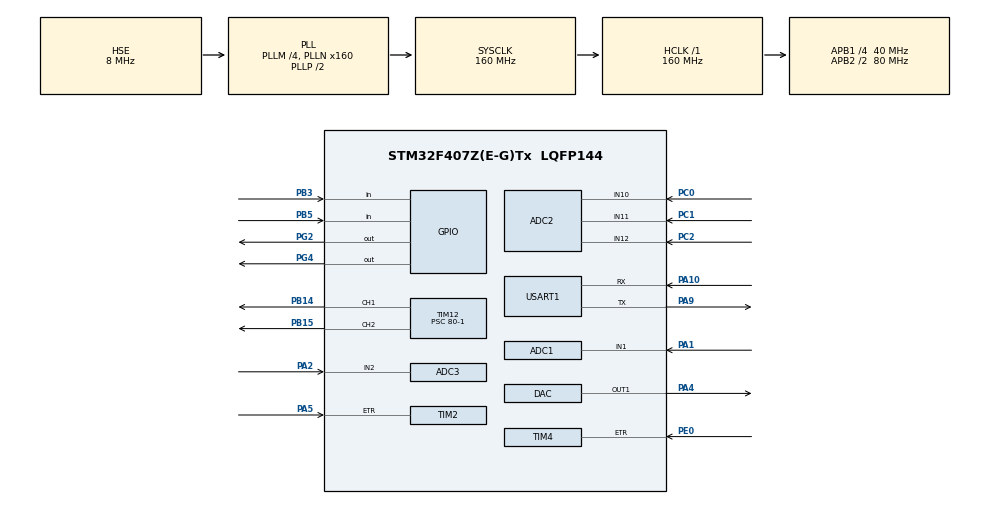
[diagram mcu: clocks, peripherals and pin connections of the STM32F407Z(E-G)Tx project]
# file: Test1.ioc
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ADC1.Channel-1\#ChannelRegularConversion=ADC_CHANNEL_1
ADC1.ClockPrescaler=ADC_CLOCK_SYNC_PCLK_DIV4
ADC1.DMAContinuousRequests=ENABLE
ADC1.ExternalTrigConv=ADC_EXTERNALTRIGCONV_T3_TRGO
ADC1.NbrOfConversion=1
ADC1.NbrOfConversionFlag=1
ADC1.Rank-1\#ChannelRegularConversion=1
ADC1.SamplingTime-1\#ChannelRegularConversion=ADC_SAMPLETIME_3CYCLES
ADC1.master=1
ADC2.Channel-5\#ChannelRegularConversion=ADC_CHANNEL_12
ADC2.ClockPrescaler=ADC_CLOCK_SYNC_PCLK_DIV4
ADC2.NbrOfConversionFlag=1
ADC2.Rank-5\#ChannelRegularConversion=1
ADC2.SamplingTime-5\#ChannelRegularConversion=ADC_SAMPLETIME_3CYCLES
ADC3.Channel-1\#ChannelRegularConversion=ADC_CHANNEL_2
ADC3.DMAContinuousRequests=ENABLE
ADC3.EOCSelection=ADC_EOC_SINGLE_CONV
ADC3.ExternalTrigConv=ADC_EXTERNALTRIGCONV_T8_TRGO
ADC3.NbrOfConversion=1
ADC3.NbrOfConversionFlag=1
ADC3.Rank-1\#ChannelRegularConversion=1
ADC3.SamplingTime-1\#ChannelRegularConversion=ADC_SAMPLETIME_3CYCLES
ADC3.ScanConvMode=DISABLE
DAC.DAC_Trigger=DAC_TRIGGER_SOFTWARE
Dma.ADC1.0.Direction=DMA_PERIPH_TO_MEMORY
Dma.ADC1.0.FIFOMode=DMA_FIFOMODE_DISABLE
Dma.ADC1.0.Instance=DMA2_Stream0
Dma.ADC1.0.MemDataAlignment=DMA_MDATAALIGN_HALFWORD
Dma.ADC1.0.MemInc=DMA_MINC_ENABLE
Dma.ADC1.0.Mode=DMA_CIRCULAR
Dma.ADC1.0.PeriphDataAlignment=DMA_PDATAALIGN_HALFWORD
Dma.ADC1.0.PeriphInc=DMA_PINC_DISABLE
Dma.ADC1.0.Priority=DMA_PRIORITY_LOW
Dma.ADC3.1.Direction=DMA_PERIPH_TO_MEMORY
Dma.ADC3.1.FIFOMode=DMA_FIFOMODE_DISABLE
Dma.ADC3.1.Instance=DMA2_Stream1
Dma.ADC3.1.MemDataAlignment=DMA_MDATAALIGN_HALFWORD
Dma.ADC3.1.MemInc=DMA_MINC_ENABLE
Dma.ADC3.1.Mode=DMA_CIRCULAR
Dma.ADC3.1.PeriphDataAlignment=DMA_PDATAALIGN_HALFWORD
Dma.ADC3.1.PeriphInc=DMA_PINC_DISABLE
Dma.ADC3.1.Priority=DMA_PRIORITY_LOW
Dma.Request0=ADC1
Dma.Request1=ADC3
FREERTOS.Tasks01=defaultTask,24,128,StartDefaultTask,Default,NULL,Dynamic,NULL,NULL;myTask02,24,128,StartTask02,Default,NULL,Dynamic,NULL,NULL
FREERTOS.configENABLE_FPU=1
Mcu.Family=STM32F4
Mcu.Name=STM32F407Z(E-G)Tx
Mcu.Package=LQFP144
NVIC.DMA2_Stream0_IRQn=true\:5\:0\:false\:false\:true\:true\:false\:true\:true
NVIC.DMA2_Stream1_IRQn=true\:5\:0\:false\:false\:true\:true\:false\:true\:true
NVIC.PriorityGroup=NVIC_PRIORITYGROUP_4
NVIC.TIM1_UP_TIM10_IRQn=true\:5\:0\:false\:false\:true\:true\:true\:true\:true
NVIC.TIM4_IRQn=true\:5\:0\:false\:false\:true\:true\:true\:true\:true
NVIC.TIM6_DAC_IRQn=true\:15\:0\:false\:false\:true\:false\:false\:true\:true
NVIC.TimeBase=TIM6_DAC_IRQn
NVIC.TimeBaseIP=TIM6
PA1.Signal=ADCx_IN1
PA10.Mode=Asynchronous
PA10.Signal=USART1_RX
PA13.Mode=Serial_Wire
PA13.Signal=SYS_JTMS-SWDIO
PA14.Mode=Serial_Wire
PA14.Signal=SYS_JTCK-SWCLK
PA2.Signal=ADCx_IN2
PA4.Signal=COMP_DAC1_group
PA5.Signal=S_TIM2_CH1_ETR
PA9.Mode=Asynchronous
PA9.Signal=USART1_TX
PB14.Signal=S_TIM12_CH1
PB15.Signal=S_TIM12_CH2
PB3.Signal=GPIO_Input
PB5.Signal=GPIO_Input
PC0.Signal=ADCx_IN10
PC1.Signal=ADCx_IN11
PC2.Signal=ADCx_IN12
PE0.Signal=S_TIM4_ETR
PG2.GPIO_Speed=GPIO_SPEED_FREQ_VERY_HIGH
PG2.Signal=GPIO_Output
PG4.GPIO_Speed=GPIO_SPEED_FREQ_VERY_HIGH
PG4.Signal=GPIO_Output
PH0-OSC_IN.Mode=HSE-External-Oscillator
PH0-OSC_IN.Signal=RCC_OSC_IN
PH1-OSC_OUT.Mode=HSE-External-Oscillator
PH1-OSC_OUT.Signal=RCC_OSC_OUT
ProjectManager.HeapSize=0x200
ProjectManager.StackSize=0x4000
ProjectManager.TargetToolchain=MDK-ARM V5.32
RCC.48MHZClocksFreq_Value=80000000
RCC.AHBFreq_Value=160000000
RCC.APB1CLKDivider=RCC_HCLK_DIV4
RCC.APB1Freq_Value=40000000
RCC.APB1TimFreq_Value=80000000
RCC.APB2CLKDivider=RCC_HCLK_DIV2
RCC.APB2Freq_Value=80000000
RCC.APB2TimFreq_Value=160000000
RCC.CortexFreq_Value=160000000
RCC.HCLKFreq_Value=160000000
RCC.HSE_VALUE=8000000
RCC.HSI_VALUE=16000000
RCC.LSE_VALUE=32768
RCC.PLLM=4
RCC.PLLN=160
RCC.PLLSourceVirtual=RCC_PLLSOURCE_HSE
RCC.SYSCLKFreq_VALUE=160000000
RCC.SYSCLKSource=RCC_SYSCLKSOURCE_PLLCLK
RCC.VCOOutputFreq_Value=320000000
SH.ADCx_IN1.0=ADC1_IN1,IN1
SH.ADCx_IN10.0=ADC2_IN10,IN10
SH.ADCx_IN11.0=ADC2_IN11,IN11
SH.ADCx_IN12.0=ADC2_IN12,IN12
SH.ADCx_IN2.0=ADC3_IN2,IN2
SH.COMP_DAC1_group.0=DAC_OUT1,DAC_OUT1
SH.S_TIM12_CH1.0=TIM12_CH1,PWM Generation1 CH1
SH.S_TIM12_CH2.0=TIM12_CH2,PWM Generation2 CH2
SH.S_TIM2_CH1_ETR.0=TIM2_ETR,ClockSourceETR_Mode2
SH.S_TIM4_ETR.0=TIM4_ETR,ClockSourceETR_Mode2
TIM1.AutoReloadPreload=TIM_AUTORELOAD_PRELOAD_ENABLE
TIM1.Period=9999
TIM1.Prescaler=15999
TIM1.TIM_MasterOutputTrigger=TIM_TRGO_RESET
TIM12.Channel-PWM\ Generation1\ CH1=TIM_CHANNEL_1
TIM12.Channel-PWM\ Generation2\ CH2=TIM_CHANNEL_2
TIM12.Period=20-1
TIM12.Prescaler=80-1
TIM12.Pulse-PWM\ Generation1\ CH1=9
TIM2.AutoReloadPreload=TIM_AUTORELOAD_PRELOAD_DISABLE
TIM2.Period=4294967295
TIM2.Prescaler=0
TIM2.TIM_MasterOutputTrigger=TIM_TRGO_RESET
TIM3.AutoReloadPreload=TIM_AUTORELOAD_PRELOAD_ENABLE
TIM3.Period=79
TIM3.Prescaler=0
TIM3.TIM_MasterOutputTrigger=TIM_TRGO_UPDATE
TIM4.AutoReloadPreload=TIM_AUTORELOAD_PRELOAD_DISABLE
TIM8.AutoReloadPreload=TIM_AUTORELOAD_PRELOAD_ENABLE
TIM8.Period=160-1
TIM8.Prescaler=0
TIM8.TIM_MasterOutputTrigger=TIM_TRGO_UPDATE
USART1.VirtualMode=VM_ASYNC
VP_FREERTOS_VS_CMSIS_V2.Mode=CMSIS_V2
VP_SYS_VS_tim6.Mode=TIM6
VP_TIM12_VS_ClockSourceINT.Mode=Internal
VP_TIM1_VS_ClockSourceINT.Mode=Internal
VP_TIM3_VS_ClockSourceINT.Mode=Internal
VP_TIM8_VS_ClockSourceINT.Mode=Internal
board=custom

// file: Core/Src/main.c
/* USER CODE BEGIN Header */
/**
  ******************************************************************************
  * @file           : main.c
  * @brief          : Main program body
  ******************************************************************************
  * @attention
  *
  * Copyright (c) 2025 STMicroelectronics.
  * All rights reserved.
  *
  * This software is licensed under terms that can be found in the LICENSE file
  * in the root directory of this software component.
  * If no LICENSE file comes with this software, it is provided AS-IS.
  *
  ******************************************************************************
  */
/* USER CODE END Header */
#include "main.h"
#include "cmsis_os.h"
#include "adc.h"
#include "dac.h"
#include "dma.h"
#include "tim.h"
#include "usart.h"
#include "gpio.h"

/* USER CODE BEGIN Includes */
#include <stdio.h>
#include "adf4002.h"
#include "lcd.h"
#include "arm_const_structs.h"
#include "ad9959.h"
#include "am_fm.h"
/* USER CODE END Includes */

/* USER CODE BEGIN PV */
//
volatile uint32_t pulseCount = 0;
volatile uint32_t signal_carrier_frequency = 0;
volatile uint8_t adc1_measurementReady = 0;
volatile uint8_t adc3_measurementReady = 0;
volatile double adc2_average_value = 0;
double AM_modulation_frequency = 0;
uint16_t adc1_buf[ADC_BUF_SIZE] = {0};
uint16_t last_adc1_buf[ADC_BUF_SIZE] = {0};
uint16_t last_adc3_buf[ADC_BUF_SIZE] = {0};
uint8_t dma_current_buf = 0;

float32_t fft_input[FFT_BUF_SIZE*2];  // 复数数组：实部+虚部
float32_t fft_output[FFT_BUF_SIZE];   // 幅度输出

//绘图相关
uint16_t prev_spectrum_x[FFT_BUF_SIZE/2] = {0}; // 存储上一次频谱点X坐标
uint16_t prev_spectrum_y[FFT_BUF_SIZE/2] = {0}; // 存储上一次频谱点Y坐标
uint16_t prev_num_points = 0;                   // 上一次绘制的点数
uint16_t adc3_buffer[ADC_BUF_SIZE] = {0};

uint16_t tim4_fre = 0; //定时器4频率
uint16_t tim4_nvic = 0;

/* USER CODE END PV */

void SystemClock_Config(void);
void MX_FREERTOS_Init(void);
/* USER CODE BEGIN PFP */

int fputc(int ch,FILE *f);
void Draw_Axes(void);
//void Draw_Spectrum(float32_t *draw_buf);

/* USER CODE END PFP */

int main(void)
{

  /* MCU Configuration--------------------------------------------------------*/

  /* Reset of all peripherals, Initializes the Flash interface and the Systick. */
  HAL_Init();

  /* Configure the system clock */
  SystemClock_Config();

  /* Initialize all configured peripherals */
  MX_GPIO_Init();
  MX_DMA_Init();
  MX_USART1_UART_Init();
  MX_TIM3_Init();
  MX_TIM1_Init();
  MX_ADC1_Init();
  MX_TIM2_Init();
  MX_ADC2_Init();
  MX_ADC3_Init();
  MX_TIM8_Init();
  MX_DAC_Init();
  MX_TIM12_Init();
  MX_TIM4_Init();
  /* USER CODE BEGIN 2 */
  lcd_init();		//LCD初始化
  Init_AD9959();    //锁相环初始化

  SignalDetectConfig my_config = {
        .fm_max_var = 300.0f,
        .am_min_var = 750.0f,
        .noise_threshold = 50.0f,
        .min_samples = 128
  };
  signal_detect_init(&my_config);

  HAL_TIM_Base_Start_IT(&htim1);
  HAL_TIM_Base_Start(&htim2);
  HAL_TIM_Base_Start(&htim3);
  HAL_TIM_Base_Start_IT(&htim4);
  HAL_TIM_Base_Start(&htim8);
  HAL_TIM_PWM_Start(&htim12,TIM_CHANNEL_1);
  HAL_ADC_Start_DMA(&hadc1, (uint32_t*)adc1_buf, ADC_BUF_SIZE);
  // 初始化后启动ADC
  HAL_ADC_Start_DMA(&hadc3,
                  (uint32_t*)adc3_buffer,   // 目标地址
                  ADC_BUF_SIZE // 总数据量=通道数×深度
                 );
//

  lcd_display_dir(1);
  Draw_Axes();

  uint32_t test_wave[ADC_BUF_SIZE] = {0};
  for(int i = 0; i<512; i++)
  {
	  test_wave[i] = 2048;
  }

  // 初始化DAC
  HAL_DAC_Start(&hdac, DAC_CHANNEL_1); // 启动通道1
  // 设置输出电n压为1.65V（VREF=3.3V）
  uint32_t dacValue = (1.65f / 3.3f) * 4095;
  HAL_DAC_SetValue(&hdac, DAC_CHANNEL_1, DAC_ALIGN_12B_R, dacValue);

//  AD9959_Set_Amplitude_Phase_Frequence(1, 900 ,0 ,15*MHz);

  HAL_Delay(10);
  IO_Update();

  /* USER CODE END 2 */

  /* Init scheduler */
  osKernelInitialize();

  /* Call init function for freertos objects (in cmsis_os2.c) */
  MX_FREERTOS_Init();

  /* Start scheduler */
  osKernelStart();

  /* We should never get here as control is now taken by the scheduler */

  /* Infinite loop */
  /* USER CODE BEGIN WHILE */
  while (1)
  {
	//扫频任务

	//ADC2采样直流显示
	//adc2_average_value = GetADC_Average(&hadc2, ADC_CHANNEL_11, 10, 3.3);
	//lcd_show_double(100, 50, adc2_average_value, 1, 6, 32, WHITE);

	//对ADC1采样做fft
//	Process_FFT(last_adc1_buf);
////	lcd_show_double(400, 50, max_freq_index * MAX_FREQ / ADC_BUF_SIZE, 3, 3, 32, WHITE);
//
//	//动态更新频谱显示
//    Draw_Spectrum(fft_output);// 1MHz采样率

	//进行信号类型初步判断
	SignalType signal1 = detect_signal_type(last_adc3_buf , ADC_BUF_SIZE);

	//信号处理函数
	Process_Signal( SIGNAL_AM  );

//	float fre = 0;
//	float amp = 0;
//
//	calculate_signal_params_zc( last_adc1_buf , ADC_BUF_SIZE , 1*MHz , &fre , &amp);
//	printf( "fre:%f amp:%f \n",fre , amp  );

//	double fre = Process_FFT(last_adc1_buf);
	//printf("%lf\n" , fre);

    /* USER CODE END WHILE */

  }
}

void SystemClock_Config(void)
{
  RCC_OscInitTypeDef RCC_OscInitStruct = {0};
  RCC_ClkInitTypeDef RCC_ClkInitStruct = {0};

  /** Configure the main internal regulator output voltage
  */
  __HAL_RCC_PWR_CLK_ENABLE();
  __HAL_PWR_VOLTAGESCALING_CONFIG(PWR_REGULATOR_VOLTAGE_SCALE1);

  /** Initializes the RCC Oscillators according to the specified parameters
  * in the RCC_OscInitTypeDef structure.
  */
  RCC_OscInitStruct.OscillatorType = RCC_OSCILLATORTYPE_HSE;
  RCC_OscInitStruct.HSEState = RCC_HSE_ON;
  RCC_OscInitStruct.PLL.PLLState = RCC_PLL_ON;
  RCC_OscInitStruct.PLL.PLLSource = RCC_PLLSOURCE_HSE;
  RCC_OscInitStruct.PLL.PLLM = 4;
  RCC_OscInitStruct.PLL.PLLN = 160;
  RCC_OscInitStruct.PLL.PLLP = RCC_PLLP_DIV2;
  RCC_OscInitStruct.PLL.PLLQ = 4;
  if (HAL_RCC_OscConfig(&RCC_OscInitStruct) != HAL_OK)
  {
    Error_Handler();
  }

  /** Initializes the CPU, AHB and APB buses clocks
  */
  RCC_ClkInitStruct.ClockType = RCC_CLOCKTYPE_HCLK|RCC_CLOCKTYPE_SYSCLK
                              |RCC_CLOCKTYPE_PCLK1|RCC_CLOCKTYPE_PCLK2;
  RCC_ClkInitStruct.SYSCLKSource = RCC_SYSCLKSOURCE_PLLCLK;
  RCC_ClkInitStruct.AHBCLKDivider = RCC_SYSCLK_DIV1;
  RCC_ClkInitStruct.APB1CLKDivider = RCC_HCLK_DIV4;
  RCC_ClkInitStruct.APB2CLKDivider = RCC_HCLK_DIV2;

  if (HAL_RCC_ClockConfig(&RCC_ClkInitStruct, FLASH_LATENCY_5) != HAL_OK)
  {
    Error_Handler();
  }
}

/* USER CODE BEGIN 4 */

//重定向printf
int fputc(int ch,FILE *f)
{
  uint8_t temp[1]={ch};
  HAL_UART_Transmit(&huart1,temp,1,2);
  return ch;
}

/* FFT处理函数 */
void Process_FFT(uint16_t *adc_buf, double *max_fre, double *max_fre_vol)
{
    // 1. 转换ADC数据到复数数组
	for(int i = 0; i < FFT_BUF_SIZE; i++)
	{
		// 实部：ADC值归一化到0-3.3V（假设12位ADC）
		fft_input[2*i] = (float32_t)adc_buf[i] * 3.3f / 4095.0f;
		fft_input[2*i+1] = 0.0f;  // 虚部置零
	}

    // 2. 执行FFT变换
    arm_cfft_f32(&arm_cfft_sR_f32_len1024, fft_input, 0, 1);

    // 3. 计算幅度谱
    arm_cmplx_mag_f32(fft_input, fft_output, FFT_BUF_SIZE);

    // 4. 幅度归一化
    fft_output[0] = fft_output[0] * 3 / FFT_BUF_SIZE;  	// 直流分量
	float32_t max_value = 0;
	float32_t max_freq_index = 0;
    for(int i = 4; i < FFT_BUF_SIZE; i++) {
        fft_output[i] = fft_output[i] * 3 / (FFT_BUF_SIZE / 2.0f);    // 交流分量
		if(i < FFT_BUF_SIZE/2)
		{
			if(fft_output[i] > max_value)
			{
				max_value = fft_output[i];
				max_freq_index = i;
			}
		}
    }
	*max_fre = max_freq_index * MAX_FREQ / FFT_BUF_SIZE;
	*max_fre_vol = max_value;
}

// 绘制坐标轴函数
void Draw_Axes(void)
{
    // 清屏（背景色）
    lcd_clear(BACKGROUND);

    // 1. 绘制坐标轴
    lcd_draw_line(ORIGIN_X-1, ORIGIN_Y+1, ORIGIN_X + X_AXIS_LEN+8, ORIGIN_Y+1, AXIS_COLOR); // X轴
    lcd_draw_line(ORIGIN_X-1, ORIGIN_Y+1, ORIGIN_X-1, ORIGIN_Y - Y_AXIS_LEN-8, AXIS_COLOR); // Y轴

    // 2. 绘制X轴箭头
    lcd_draw_line(ORIGIN_X + X_AXIS_LEN+8, ORIGIN_Y+1, ORIGIN_X + X_AXIS_LEN+8 - 6, ORIGIN_Y+1 - 3, AXIS_COLOR);
    lcd_draw_line(ORIGIN_X + X_AXIS_LEN+8, ORIGIN_Y+1, ORIGIN_X + X_AXIS_LEN+8 - 6, ORIGIN_Y+1 + 3, AXIS_COLOR);
    // 绘制Y轴箭头
    lcd_draw_line(ORIGIN_X-1, ORIGIN_Y- Y_AXIS_LEN-8, ORIGIN_X-1 - 3, ORIGIN_Y - Y_AXIS_LEN-8 + 6, AXIS_COLOR);
    lcd_draw_line(ORIGIN_X-1, ORIGIN_Y - Y_AXIS_LEN-8, ORIGIN_X-1 + 3, ORIGIN_Y - Y_AXIS_LEN-8 + 6, AXIS_COLOR);

    // 3. 绘制网格和刻度
    // X轴网格和刻度 (100kHz间隔)
    for (uint16_t x = ORIGIN_X + 140; x < ORIGIN_X + X_AXIS_LEN; x += 140) {
//        lcd_draw_vline(x, ORIGIN_Y - Y_AXIS_LEN, Y_AXIS_LEN, GRID_COLOR); // 垂直网格线
        lcd_draw_vline(x, ORIGIN_Y+1, 5, AXIS_COLOR); // 刻度线
    }

    // Y轴网格和刻度 (0.5V间隔)
    for (uint16_t y = ORIGIN_Y - 50; y > ORIGIN_Y - Y_AXIS_LEN; y -= 50) {
//        lcd_draw_hline(ORIGIN_X, y, X_AXIS_LEN, GRID_COLOR); // 水平网格线
        lcd_draw_hline(ORIGIN_X-1 - 5, y, 5, AXIS_COLOR); // 刻度线
    }

    // 4. 显示坐标轴标签
    // X轴刻度值 (0, 100k, 200k, 300k, 400k, 500k)
    const uint16_t x_pos[] = {ORIGIN_X, ORIGIN_X+X_AXIS_LEN/5, ORIGIN_X+X_AXIS_LEN/5*2, ORIGIN_X+X_AXIS_LEN/5*3, ORIGIN_X+X_AXIS_LEN/5*4, ORIGIN_X+X_AXIS_LEN};
    const double freq_val[] = {0, MAX_FREQ/2/5, MAX_FREQ/2/5*2, MAX_FREQ/2/5*3, MAX_FREQ/2/5*4, MAX_FREQ/2};

    for (uint8_t i = 0; i < 6; i++) {
        lcd_show_num(x_pos[i] - 15, ORIGIN_Y+1 + 10, freq_val[i], 3, 16, TEXT_COLOR);
    }
    lcd_show_string(ORIGIN_X + X_AXIS_LEN+2 - 30, ORIGIN_Y+1 + 35, 20, 20, 16, "kHz", TEXT_COLOR);

    // Y轴刻度值 (0.0, 0.5, ..., 3.0)
    uint8_t val = 0;
    for (uint16_t y = ORIGIN_Y+1; y >= ORIGIN_Y+1 - 300; y -= 50) {
        lcd_show_double(ORIGIN_X - 40, y - 8, val*0.5, 1, 1, 16, TEXT_COLOR);
        val++;
    }
    lcd_show_string(ORIGIN_X-1 - 60, ORIGIN_Y - Y_AXIS_LEN-2, 20, 20, 16, "V", TEXT_COLOR);
}

// 动态绘制频谱图函数
void Draw_Spectrum(float32_t *draw_buf)
{
    // 动态绘制频谱线
    uint16_t prev_x = ORIGIN_X;
    uint16_t prev_y = ORIGIN_Y - (uint16_t)((draw_buf[0] * Y_AXIS_LEN) / MAX_AMPLITUDE);
	if (prev_y > ORIGIN_Y) prev_y = ORIGIN_Y;
    if (prev_y < ORIGIN_Y - Y_AXIS_LEN) prev_y = ORIGIN_Y - Y_AXIS_LEN;

    for (uint16_t i = 1; i < FFT_BUF_SIZE/2; i++) {  // 只取前512个点(单边频谱)
        // 计算当前点坐标
        uint16_t x = ORIGIN_X + (i * X_AXIS_LEN) / (FFT_BUF_SIZE/2);
        uint16_t y = ORIGIN_Y - (uint16_t)((draw_buf[i] * Y_AXIS_LEN) / MAX_AMPLITUDE);

        // 边界保护
        if (y > ORIGIN_Y) y = ORIGIN_Y;
        if (y < ORIGIN_Y - Y_AXIS_LEN) y = ORIGIN_Y - Y_AXIS_LEN;

		// 清除已绘制谱线
		lcd_fill(prev_x, ORIGIN_Y-Y_AXIS_LEN, x, ORIGIN_Y, BACKGROUND);
        // 绘制当前频谱线片段
        lcd_draw_line(prev_x, prev_y, x, y, SPECTRUM_COLOR);

        // 更新前一个点坐标
        prev_x = x;
        prev_y = y;

    }
}

/* USER CODE END 4 */

void HAL_TIM_PeriodElapsedCallback(TIM_HandleTypeDef *htim)
{
  if (htim->Instance == TIM6)
  {
    HAL_IncTick();
  }
}

void Error_Handler(void)
{
  __disable_irq();
  while (1)
  {
  }
}

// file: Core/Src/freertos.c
/* USER CODE BEGIN Header */
/**
  ******************************************************************************
  * File Name          : freertos.c
  * Description        : Code for freertos applications
  ******************************************************************************
  * @attention
  *
  * Copyright (c) 2025 STMicroelectronics.
  * All rights reserved.
  *
  * This software is licensed under terms that can be found in the LICENSE file
  * in the root directory of this software component.
  * If no LICENSE file comes with this software, it is provided AS-IS.
  *
  ******************************************************************************
  */
/* USER CODE END Header */

#include "FreeRTOS.h"
#include "task.h"
#include "main.h"
#include "cmsis_os.h"

/* Definitions for defaultTask */
osThreadId_t defaultTaskHandle;
const osThreadAttr_t defaultTask_attributes = {
  .name = "defaultTask",
  .stack_size = 128 * 4,
  .priority = (osPriority_t) osPriorityNormal,
};
/* Definitions for myTask02 */
osThreadId_t myTask02Handle;
const osThreadAttr_t myTask02_attributes = {
  .name = "myTask02",
  .stack_size = 128 * 4,
  .priority = (osPriority_t) osPriorityNormal,
};

void StartDefaultTask(void *argument);
void StartTask02(void *argument);

void MX_FREERTOS_Init(void); /* (MISRA C 2004 rule 8.1) */

void MX_FREERTOS_Init(void) {

  /* Create the thread(s) */
  /* creation of defaultTask */
  defaultTaskHandle = osThreadNew(StartDefaultTask, NULL, &defaultTask_attributes);

  /* creation of myTask02 */
  myTask02Handle = osThreadNew(StartTask02, NULL, &myTask02_attributes);

}

void StartDefaultTask(void *argument)
{
  for(;;)
  {
    osDelay(1);
  }
}

void StartTask02(void *argument)
{
  for(;;)
  {
    osDelay(1);
  }
}
